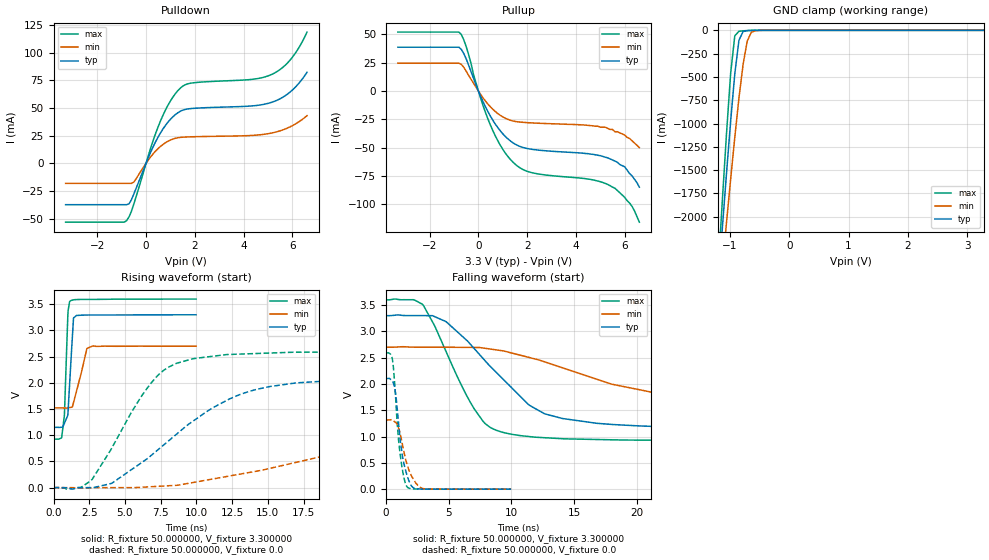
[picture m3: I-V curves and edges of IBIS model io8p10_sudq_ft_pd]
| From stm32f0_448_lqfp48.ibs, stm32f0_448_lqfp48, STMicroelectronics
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|   Model io8p10_sudq_ft_pd
[Model]  io8p10_sudq_ft_pd
Model_type I/O
Polarity   Non-Inverting
Enable   Active-Low
Vinl =   0.990000V
Vinh =   2.310000V
Vmeas =  1.650000V
Cref =   50.000000pF
Rref =   100.000000M
Vref =   0.0V
C_comp   1.970900pF   1.892300pF   2.063200pF
[Temperature Range]   25.000000   0.125000k   -40.000000
[Pullup Reference]   3.300000V   2.700000V   3.600000V
[Pulldown Reference]   0.0V   0.0V   0.0V
[POWER Clamp Reference]   3.300000V   2.700000V   3.600000V
[GND Clamp Reference]   0.0V   0.0V   0.0V
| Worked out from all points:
|   slope of the pulldown table from 0 to 0.495 V, typ, clamps not added: 20.9 ohm
|   slope of the pullup table from 0 to 0.495 V, typ, clamps not added: 22.2 ohm
|   GND clamp passes 1 mA (typ) near -0.64 V on its own axis
|   rising waveform, R_fixture 50.000000, V_fixture 3.300000: 20-80 % time 274ps typ, 646ps min, 201ps max; typ from 1.15 V to 3.3 V
|   rising waveform, R_fixture 50.000000, V_fixture 0.0: 20-80 % time 6.37ns typ, 15.3ns min, 3.53ns max; typ from 0 V to 2.1 V
|   falling waveform, R_fixture 50.000000, V_fixture 3.300000: 20-80 % time 5.28ns typ, 10.9ns min, 3.27ns max; typ from 3.3 V to 1.15 V
|   falling waveform, R_fixture 50.000000, V_fixture 0.0: 20-80 % time 663ps typ, 882ps min, 541ps max; typ from 2.1 V to 0 V
[Pulldown]
|Voltage   I(typ)   I(min)   I(max)
-3.3V     -37.45mA   -18.2mA    -53.24mA
-800mV    -37.45mA   -18.2mA    -51.9mA
-700mV    -36.7mA    -18.2mA    -48.48mA
-500mV    -27.71mA   -17.01mA   -36.66mA
200mV     10.57mA    6.084mA    14.57mA
500mV     23.91mA    13.38mA    33.24mA
900mV     37.17mA    19.88mA    52.48mA
1.3V      45.55mA    23.01mA    65.5mA
1.8V      49.29mA    23.83mA    72.18mA
5.1V      54.68mA    27.07mA    79.72mA
5.9V      64.2mA     32.82mA    93.01mA
6.6V      82.13mA    42.97mA    118.5mA
[Pullup]
|Voltage   I(typ)   I(min)   I(max)
-3.3V     38.73mA    24.61mA    52.1mA
-800mV    38.73mA    24.61mA    52.1mA
-500mV    28.37mA    17.48mA    39.19mA
0V        0A         0A         0A
500mV     -22.5mA    -14.16mA   -30.52mA
900mV     -35.28mA   -21.55mA   -48mA
1.4V      -45.55mA   -26.41mA   -62.54mA
2.2V      -51.57mA   -28.22mA   -72.25mA
5.3V      -59.1mA    -33mA      -82.6mA
6V        -67mA      -39mA      -94mA
6.2V      -73mA      -42mA      -99mA
6.6V      -85mA      -50mA      -116mA
[GND_clamp]
|Voltage   I(typ)   I(min)   I(max)
-3.3V     -9.525A    -9.501A    -9.513A
-1.2V     -2.719A    -3.023A    -2.568A
-1.13V    -2.122A    -2.541A    -1.826A
-1.06V    -1.537A    -2.065A    -1.111A
-990mV    -975.7mA   -1.599A    -462mA
-920mV    -467.5mA   -1.149A    -59.02mA
-850mV    -106.6mA   -727.3mA   -10.13mA
-780mV    -13.08mA   -365.4mA   -5.271mA
-710mV    -3.06mA    -114.8mA   -2.651mA
-640mV    -957.2uA   -20.17mA   -921.6uA
-570mV    -212.9uA   -3.969mA   -172uA
3.28V     83.81uA    63.75uA    93.54uA
[POWER_clamp]
|Voltage   I(typ)   I(min)   I(max)
-3.28V    0A         0A         0A
0V        0A         0A         0A
[Ramp]
| variable   typ   min   max
dV/dt_r  1.26150/6.36494n   0.77862/15.28889n   1.55382/3.52251n
dV/dt_f  1.28916/5.27830n   0.70008/10.90013n   1.60430/3.26463n
R_load = 50.000000
[Rising Waveform]
R_fixture= 50.000000
V_fixture= 3.300000
V_fixture_min= 2.700000
V_fixture_max= 3.600000
|time   V(typ)   V(min)   V(max)
0s        1.15V      1.521V     925.1mV
560.6ps   1.152V     1.52V      947.6mV
760.8ps   1.229V     1.519V     1.381V
1.001ns   1.382V     1.522V     3.286V
1.141ns   2.049V     1.528V     3.554V
1.401ns   3.239V     1.626V     3.584V
1.622ns   3.287V     1.856V     3.589V
2.342ns   3.294V     2.658V     3.591V
2.743ns   3.295V     2.703V     3.592V
9.97ns    3.299V     2.699V     3.599V
[Rising Waveform]
R_fixture= 50.000000
V_fixture= 0.0
V_fixture_min= 0.0
V_fixture_max= 0.0
|time   V(typ)   V(min)   V(max)
0s        -32.87uV   -23.39uV   -20.28uV
2.603ns   -244.8uV   -5.328mV   130.3mV
4.104ns   87.71mV    -415.2uV   769.1mV
7.007ns   653.5mV    19.49mV    2.054V
8.008ns   882.6mV    34.81mV    2.294V
9.81ns    1.278V     99.57mV    2.462V
13.01ns   1.773V     255.5mV    2.548V
17.02ns   1.999V     484.8mV    2.584V
32.23ns   2.1V       1.162V     2.591V
49.85ns   2.103V     1.315V     2.59V
[Falling Waveform]
R_fixture= 50.000000
V_fixture= 3.300000
V_fixture_min= 2.700000
V_fixture_max= 3.600000
|time   V(typ)   V(min)   V(max)
0s        3.299V     2.699V     3.599V
2.903ns   3.3V       2.699V     3.516V
4.805ns   3.183V     2.698V     2.61V
7.007ns   2.681V     2.694V     1.537V
8.208ns   2.36V      2.668V     1.191V
9.71ns    2.002V     2.607V     1.058V
12.61ns   1.436V     2.423V     978.4mV
16.82ns   1.252V     2.088V     944.2mV
23.52ns   1.179V     1.733V     929.4mV
49.85ns   1.15V      1.521V     925.1mV
[Falling Waveform]
R_fixture= 50.000000
V_fixture= 0.0
V_fixture_min= 0.0
V_fixture_max= 0.0
|time   V(typ)   V(min)   V(max)
0s        2.103V     1.315V     2.59V
520.5ps   2.061V     1.313V     2.467V
760.8ps   1.842V     1.271V     1.802V
981ps     1.331V     1.18V      1.013V
1.101ns   1.021V     1.092V     734.9mV
1.441ns   483.4mV    706.1mV    213.2mV
1.742ns   223.1mV    432.6mV    31.37mV
2.162ns   30.01mV    201.7mV    5.073mV
3.003ns   1.727mV    9.018mV    1.539mV
9.97ns    -32.87uV   -23.39uV   -20.28uV
